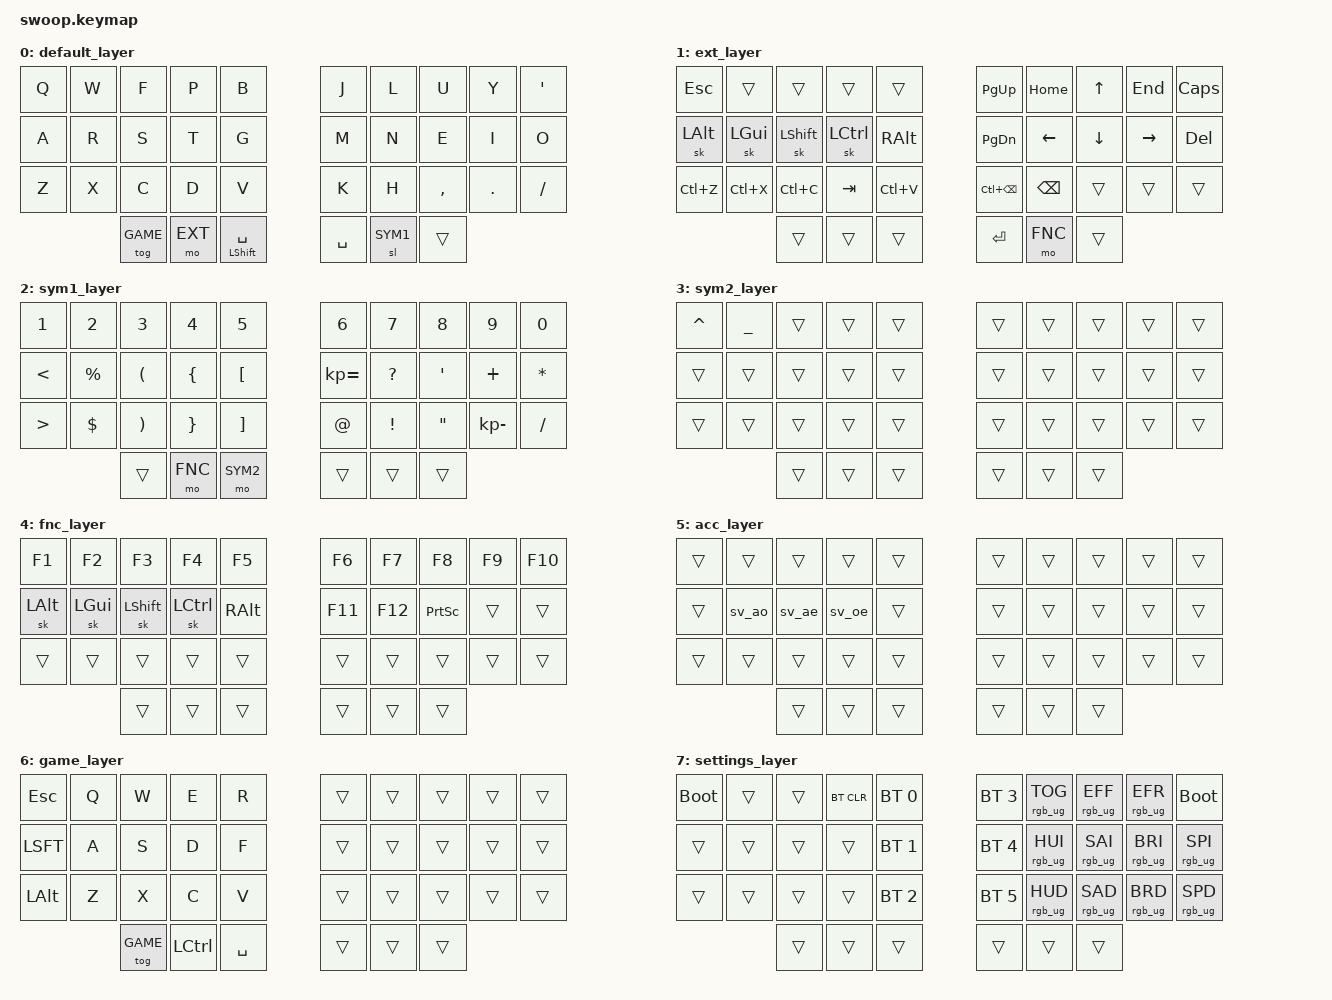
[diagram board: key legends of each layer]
/*
 * Copyright (c) 2020 The ZMK Contributors
 *
 * SPDX-License-Identifier: MIT
 */

#include <behaviors.dtsi>
#include <dt-bindings/zmk/keys.h>
#include <dt-bindings/zmk/bt.h>
#include <dt-bindings/zmk/rgb.h>

#include "../../../../zmk-nodefree-config/helper.h"
#include "../../../../zmk-nodefree-config/keypos_def/keypos_36keys.h"
#include "../../../../zmk-nodefree-config/international_chars/swedish.dtsi"

#define XXX &none
#define ___ &trans
#define rgb &rgb_ug

// Layer definitions
#define DEFAULT  0
#define EXT      1
#define SYM1     2
#define SYM2     3
#define FNC      4
#define ACC      5
#define GAME     6
#define SETTINGS 7

&mt {
    tapping_term_ms = <200>;
};

&sk {
    ignore-modifiers;
};

/*
                   KEY POSITIONS

  ╭─────────────────────╮ ╭─────────────────────╮
  │ LT4 LT3 LT2 LT1 LT0 │ │ RT0 RT1 RT2 RT3 RT4 │
  │ LM4 LM3 LM2 LM1 LM0 │ │ RM0 RM1 RM2 RM3 RM4 │
  │ LB4 LB3 LB2 LB1 LB0 │ │ RB0 RB1 RB2 RB3 RB4 │
  ╰───────╮ LH2 LH1 LH0 │ │ RH0 RH1 RH2 ╭───────╯
          ╰─────────────╯ ╰─────────────╯
*/

#define COMBO_TERM_FAST 20
#define COMBO_TERM_SLOW 35

ZMK_COMBO(combo_accent,    &mo ACC,       RH0 RH1,  DEFAULT,  COMBO_TERM_FAST)
ZMK_COMBO(combo_sym2,      &mo SYM2,      LH0 RH1,  DEFAULT,  COMBO_TERM_FAST)
ZMK_COMBO(combo_settings,  &mo SETTINGS,  LH1 LH0,  DEFAULT,  COMBO_TERM_FAST)

// Base alpha layer (COLEMAK-DH)
ZMK_LAYER(default_layer,
// ╭─────────────┬─────────────┬─────────────┬─────────────┬─────────────╮   ╭─────────────┬─────────────┬─────────────┬─────────────┬─────────────╮
     &kp Q         &kp W         &kp F         &kp P         &kp B             &kp J         &kp L         &kp U         &kp Y         &kp APOS
// ├─────────────┼─────────────┼─────────────┼─────────────┼─────────────┤   ├─────────────┼─────────────┼─────────────┼─────────────┼─────────────┤
     &kp A         &kp R         &kp S         &kp T         &kp G             &kp M         &kp N         &kp E         &kp I         &kp O
// ├─────────────┼─────────────┼─────────────┼─────────────┼─────────────┤   ├─────────────┼─────────────┼─────────────┼─────────────┼─────────────┤
     &kp Z         &kp X         &kp C         &kp D         &kp V             &kp K         &kp H         &kp COMMA     &kp DOT       &kp FSLH
// ╰─────────────┼─────────────┼─────────────┼─────────────┼─────────────┤   ├─────────────┼─────────────┼─────────────┼─────────────┼─────────────┤
                                 &tog GAME     &mo EXT       &mt LSHFT SPC     &kp SPC       &sl SYM1      ___
//                             ╰─────────────┴─────────────┴─────────────╯   ╰─────────────┴─────────────┴─────────────╯
)

// Main modifiers and arrow keys
ZMK_LAYER(ext_layer,
// ╭─────────────┬─────────────┬─────────────┬─────────────┬─────────────╮   ╭─────────────┬─────────────┬─────────────┬─────────────┬─────────────╮
     &kp ESC       ___           ___           ___           ___               &kp PG_UP     &kp HOME      &kp UP        &kp END       &kp CAPS
// ├─────────────┼─────────────┼─────────────┼─────────────┼─────────────┤   ├─────────────┼─────────────┼─────────────┼─────────────┼─────────────┤
     &sk LALT      &sk LGUI      &sk LSHFT     &sk LCTRL     &kp RALT          &kp PG_DN     &kp LEFT      &kp DOWN      &kp RIGHT     &kp DEL
// ├─────────────┼─────────────┼─────────────┼─────────────┼─────────────┤   ├─────────────┼─────────────┼─────────────┼─────────────┼─────────────┤
     &kp LC(Z)     &kp LC(X)     &kp LC(C)     &kp TAB       &kp LC(V)         &kp LC(BSPC)  &kp BSPC      ___            ___          ___
// ╰─────────────┼─────────────┼─────────────┼─────────────┼─────────────┤   ├─────────────┼─────────────┼─────────────┼─────────────┼─────────────┤
                                 ___           ___           ___               &kp ENTER     &mo FNC       ___
//                             ╰─────────────┴─────────────┴─────────────╯   ╰─────────────┴─────────────┴─────────────╯
)

// Numbers and high frequency symbols
ZMK_LAYER(sym1_layer,
// ╭─────────────┬─────────────┬─────────────┬─────────────┬─────────────╮   ╭─────────────┬─────────────┬─────────────┬─────────────┬─────────────╮
     &kp N1        &kp N2        &kp N3        &kp N4        &kp N5            &kp N6        &kp N7        &kp N8        &kp N9        &kp N0
// ├─────────────┼─────────────┼─────────────┼─────────────┼─────────────┤   ├─────────────┼─────────────┼─────────────┼─────────────┼─────────────┤
     &kp LT        &kp PRCNT     &kp LPAR      &kp LBRC      &kp LBKT          &kp KP_EQUAL  &kp QMARK     &kp SQT       &kp PLUS      &kp STAR
// ├─────────────┼─────────────┼─────────────┼─────────────┼─────────────┤   ├─────────────┼─────────────┼─────────────┼─────────────┼─────────────┤
     &kp GT        &kp DLLR      &kp RPAR      &kp RBRC      &kp RBKT          &kp AT        &kp EXCL      &kp DQT       &kp KP_MINUS  &kp FSLH
// ╰─────────────┼─────────────┼─────────────┼─────────────┼─────────────┤   ├─────────────┼─────────────┼─────────────┼─────────────┼─────────────┤
                                 ___           &mo FNC       &mo SYM2          ___           ___           ___
//                             ╰─────────────┴─────────────┴─────────────╯   ╰─────────────┴─────────────┴─────────────╯
)

// Low frequency symbols
ZMK_LAYER(sym2_layer,
// ╭─────────────┬─────────────┬─────────────┬─────────────┬─────────────╮   ╭─────────────┬─────────────┬─────────────┬─────────────┬─────────────╮
     &kp CARET     &kp UNDER     ___           ___           ___               ___           ___           ___           ___           ___
// ├─────────────┼─────────────┼─────────────┼─────────────┼─────────────┤   ├─────────────┼─────────────┼─────────────┼─────────────┼─────────────┤
     ___           ___           ___           ___           ___               ___           ___           ___           ___           ___
// ├─────────────┼─────────────┼─────────────┼─────────────┼─────────────┤   ├─────────────┼─────────────┼─────────────┼─────────────┼─────────────┤
     ___           ___           ___           ___           ___               ___           ___           ___           ___           ___
// ╰─────────────┼─────────────┼─────────────┼─────────────┼─────────────┤   ├─────────────┼─────────────┼─────────────┼─────────────┼─────────────┤
                                 ___           ___           ___               ___           ___           ___
//                             ╰─────────────┴─────────────┴─────────────╯   ╰─────────────┴─────────────┴─────────────╯
)

// Function keys with modifiers
ZMK_LAYER(fnc_layer,
// ╭─────────────┬─────────────┬─────────────┬─────────────┬─────────────╮   ╭─────────────┬─────────────┬─────────────┬─────────────┬─────────────╮
     &kp F1        &kp F2        &kp F3        &kp F4        &kp F5            &kp F6        &kp F7        &kp F8        &kp F9        &kp F10
// ├─────────────┼─────────────┼─────────────┼─────────────┼─────────────┤   ├─────────────┼─────────────┼─────────────┼─────────────┼─────────────┤
     &sk LALT      &sk LGUI      &sk LSHFT     &sk LCTRL     &kp RALT          &kp F11       &kp F12       &kp PSCRN     ___           ___
// ├─────────────┼─────────────┼─────────────┼─────────────┼─────────────┤   ├─────────────┼─────────────┼─────────────┼─────────────┼─────────────┤
     ___           ___           ___           ___           ___               ___           ___           ___           ___           ___
// ╰─────────────┼─────────────┼─────────────┼─────────────┼─────────────┤   ├─────────────┼─────────────┼─────────────┼─────────────┼─────────────┤
                                 ___           ___           ___               ___           ___           ___
//                             ╰─────────────┴─────────────┴─────────────╯   ╰─────────────┴─────────────┴─────────────╯
)

// Used to type regional accents
ZMK_LAYER(acc_layer,
// ╭─────────────┬─────────────┬─────────────┬─────────────┬─────────────╮   ╭─────────────┬─────────────┬─────────────┬─────────────┬─────────────╮
     ___           ___           ___           ___           ___               ___           ___           ___           ___           ___
// ├─────────────┼─────────────┼─────────────┼─────────────┼─────────────┤   ├─────────────┼─────────────┼─────────────┼─────────────┼─────────────┤
     ___           &sv_ao        &sv_ae        &sv_oe        ___              ___           ___           ___           ___           ___
// ├─────────────┼─────────────┼─────────────┼─────────────┼─────────────┤   ├─────────────┼─────────────┼─────────────┼─────────────┼─────────────┤
     ___           ___           ___           ___           ___               ___           ___           ___           ___           ___
// ╰─────────────┼─────────────┼─────────────┼─────────────┼─────────────┤   ├─────────────┼─────────────┼─────────────┼─────────────┼─────────────┤
                                 ___           ___           ___               ___           ___           ___
//                             ╰─────────────┴─────────────┴─────────────╯   ╰─────────────┴─────────────┴─────────────╯
)

// Gaming (QWERTY)
ZMK_LAYER(game_layer,
// ╭─────────────┬─────────────┬─────────────┬─────────────┬─────────────╮   ╭─────────────┬─────────────┬─────────────┬─────────────┬─────────────╮
     &kp ESC       &kp Q         &kp W         &kp E         &kp R             ___           ___           ___           ___           ___
// ├─────────────┼─────────────┼─────────────┼─────────────┼─────────────┤   ├─────────────┼─────────────┼─────────────┼─────────────┼─────────────┤
     &kp LSFT      &kp A         &kp S         &kp D         &kp F             ___           ___           ___           ___           ___
// ├─────────────┼─────────────┼─────────────┼─────────────┼─────────────┤   ├─────────────┼─────────────┼─────────────┼─────────────┼─────────────┤
     &kp LALT      &kp Z         &kp X         &kp C         &kp V             ___           ___           ___           ___           ___
// ╰─────────────┼─────────────┼─────────────┼─────────────┼─────────────┤   ├─────────────┼─────────────┼─────────────┼─────────────┼─────────────┤
                                 &tog GAME     &kp LCTL      &kp SPC           ___           ___           ___
//                             ╰─────────────┴─────────────┴─────────────╯   ╰─────────────┴─────────────┴─────────────╯
)

// Used to change the keyboard's settings
ZMK_LAYER(settings_layer,
// ╭─────────────┬─────────────┬─────────────┬─────────────┬─────────────╮   ╭─────────────┬─────────────┬─────────────┬─────────────┬─────────────╮
     &bootloader   ___           ___           &bt BT_CLR    &bt BT_SEL 0      &bt BT_SEL 3  rgb RGB_TOG   rgb RGB_EFF   rgb RGB_EFR   &bootloader
// ├─────────────┼─────────────┼─────────────┼─────────────┼─────────────┤   ├─────────────┼─────────────┼─────────────┼─────────────┼─────────────┤
     ___           ___           ___           ___           &bt BT_SEL 1      &bt BT_SEL 4  rgb RGB_HUI   rgb RGB_SAI   rgb RGB_BRI   rgb RGB_SPI
// ├─────────────┼─────────────┼─────────────┼─────────────┼─────────────┤   ├─────────────┼─────────────┼─────────────┼─────────────┼─────────────┤
     ___           ___           ___           ___           &bt BT_SEL 2      &bt BT_SEL 5  rgb RGB_HUD   rgb RGB_SAD   rgb RGB_BRD   rgb RGB_SPD
// ╰─────────────┼─────────────┼─────────────┼─────────────┼─────────────┤   ├─────────────┼─────────────┼─────────────┼─────────────┼─────────────┤
                                 ___           ___           ___               ___           ___           ___
//                             ╰─────────────┴─────────────┴─────────────╯   ╰─────────────┴─────────────┴─────────────╯
)
